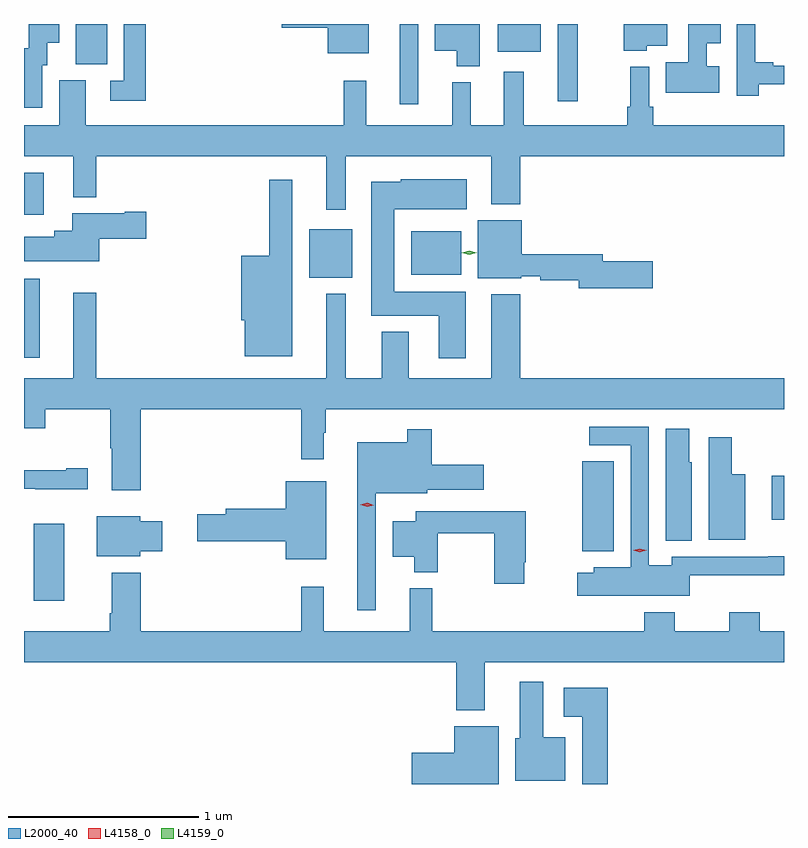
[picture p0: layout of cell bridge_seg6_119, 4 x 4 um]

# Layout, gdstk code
import gdstk
lib = gdstk.Library(unit=1e-6, precision=1e-09)
def R(c, l, rs):  # rectangles x0, y0, x1, y1
    for r in rs: c.add(gdstk.rectangle(r[:2], r[2:], *l))
def P(c, l, *ps):  # polygons
    for p in ps: c.add(gdstk.Polygon(p, *l))
L2000_40 = (2000, 40)
L4158_0 = (4158, 0)
L4159_0 = (4159, 0)

bridge_seg6_119 = lib.new_cell('bridge_seg6_119')
R(bridge_seg6_119, L2000_40, [(493.256,982.293,493.417,982.699), (496.142,982.553,496.309,983.027), (497.141,982.718,497.205,982.951), (493.205,983.571,493.288,983.986), (494.705,983.993,494.932,984.247), (495.242,984.008,495.505,984.238), (493.205,984.323,493.309,984.544), (495.182,984.906,495.279,985.328), (496.013,984.921,496.12,985.328), (493.478,985.117,493.642,985.328), (495.698,985.181,495.925,985.328)])
P(bridge_seg6_119, L2000_40, [(495.019,985.328),(494.562,985.328),(494.562,985.307),(494.804,985.307),(494.804,985.175),(495.019,985.175)],
  [(495.604,985.328),(495.368,985.328),(495.368,985.187),(495.482,985.187),(495.482,985.106),(495.604,985.106)],
  [(493.847,985.328),(493.731,985.328),(493.731,985.029),(493.659,985.029),(493.659,984.924),(493.847,984.924)],
  [(493.302,985.11),(493.327,985.11),(493.327,985.229),(493.39,985.229),(493.39,985.328),(493.229,985.328),(493.229,985.2),(493.205,985.2),(493.205,984.888),(493.302,984.888)],
  [(496.482,985.214),(496.591,985.214),(496.591,985.328),(496.361,985.328),(496.361,985.187),(496.482,985.187)],
  [(497.072,985.01),(497.205,985.01),(497.205,985.107),(497.149,985.107),(497.149,985.127),(497.054,985.127),(497.054,985.328),(496.956,985.328),(496.956,984.951),(497.072,984.951)],
  [(496.864,985.105),(496.798,985.105),(496.798,985.226),(496.871,985.226),(496.871,985.328),(496.701,985.328),(496.701,985.126),(496.582,985.126),(496.582,984.965),(496.864,984.965)],
  [(497.205,984.796),(496.517,984.796),(496.517,984.892),(496.497,984.892),(496.497,985.102),(496.396,985.102),(496.396,984.892),(496.381,984.892),(496.381,984.796),(495.835,984.796),(495.835,985.078),(495.731,985.078),(495.731,984.796),(495.556,984.796),(495.556,985.021),(495.458,985.021),(495.458,984.796),(495.005,984.796),(495.005,985.03),(494.887,985.03),(494.887,984.796),(493.531,984.796),(493.531,985.032),(493.391,985.032),(493.391,984.796),(493.205,984.796),(493.205,984.632),(493.463,984.632),(493.463,984.416),(493.585,984.416),(493.585,984.632),(494.795,984.632),(494.795,984.351),(494.899,984.351),(494.899,984.632),(495.665,984.632),(495.665,984.38),(495.818,984.38),(495.818,984.632),(497.205,984.632)],
  [(495.529,983.92),(495.154,983.92),(495.154,984.353),(495.536,984.353),(495.536,984.511),(495.189,984.511),(495.189,984.499),(495.032,984.499),(495.032,983.792),(495.389,983.792),(495.389,983.568),(495.529,983.568)],
  [(494.617,984.508),(494.496,984.508),(494.496,984.109),(494.348,984.109),(494.348,983.769),(494.366,983.769),(494.366,983.579),(494.617,983.579)],
  [(493.6,984.197),(493.849,984.197),(493.849,984.339),(493.736,984.339),(493.736,984.331),(493.46,984.331),(493.46,984.241),(493.364,984.241),(493.364,984.209),(493.205,984.209),(493.205,984.08),(493.6,984.08)],
  [(496.513,984.08),(496.252,984.08),(496.252,984.116),(495.826,984.116),(495.826,984.295),(495.593,984.295),(495.593,983.99),(495.822,983.99),(495.822,984),(495.922,984),(495.922,983.98),(496.124,983.98),(496.124,983.938),(496.513,983.938)],
  [(493.463,983.914),(493.463,983.464),(493.205,983.464),(493.205,983.201),(493.317,983.201),(493.317,983.3),(493.66,983.3),(493.66,983.096),(493.667,983.096),(493.667,982.875),(493.82,982.875),(493.82,983.3),(494.665,983.3),(494.665,983.037),(494.782,983.037),(494.782,983.177),(494.794,983.177),(494.794,983.3),(497.205,983.3),(497.205,983.464),(495.818,983.464),(495.818,983.905),(495.665,983.905),(495.665,983.464),(495.229,983.464),(495.229,983.707),(495.089,983.707),(495.089,983.464),(494.899,983.464),(494.899,983.908),(494.795,983.908),(494.795,983.464),(493.585,983.464),(493.585,983.914)],
  [(496.71,982.427),(497.205,982.427),(497.205,982.526),(497.123,982.526),(497.123,982.524),(496.614,982.524),(496.614,982.48),(496.494,982.48),(496.494,983.208),(496.179,983.208),(496.179,983.112),(496.398,983.112),(496.398,982.468),(496.203,982.468),(496.203,982.441),(496.116,982.441),(496.116,982.319),(496.71,982.319)],
  [(496.72,983.022),(496.705,983.022),(496.705,983.197),(496.583,983.197),(496.583,982.609),(496.72,982.609)],
  [(495.057,982.859),(495.327,982.859),(495.327,982.877),(495.625,982.877),(495.625,983.007),(495.35,983.007),(495.35,983.194),(495.222,983.194),(495.222,983.128),(494.96,983.128),(494.96,982.242),(495.057,982.242)],
  [(497.002,982.957),(496.93,982.957),(496.93,983.152),(496.808,983.152),(496.808,982.613),(497.002,982.613)],
  [(493.54,982.99),(493.427,982.99),(493.427,982.98),(493.205,982.98),(493.205,982.881),(493.264,982.881),(493.264,982.88),(493.54,982.88)],
  [(494.797,982.921),(494.582,982.921),(494.582,982.778),(494.267,982.778),(494.267,982.748),(494.118,982.748),(494.118,982.606),(494.582,982.606),(494.582,982.511),(494.797,982.511)],
  [(495.838,982.495),(495.846,982.495),(495.846,982.764),(495.266,982.764),(495.266,982.711),(495.146,982.711),(495.146,982.523),(495.26,982.523),(495.26,982.442),(495.382,982.442),(495.382,982.648),(495.68,982.648),(495.68,982.383),(495.838,982.383)],
  [(493.818,982.553),(493.933,982.553),(493.933,982.711),(493.818,982.711),(493.818,982.738),(493.589,982.738),(493.589,982.526),(493.818,982.526)],
  [(495.631,981.968),(497.205,981.968),(497.205,982.132),(497.078,982.132),(497.078,982.231),(496.918,982.231),(496.918,982.132),(496.629,982.132),(496.629,982.231),(496.469,982.231),(496.469,982.132),(495.353,982.132),(495.353,982.357),(495.236,982.357),(495.236,982.132),(494.783,982.132),(494.783,982.366),(494.665,982.366),(494.665,982.132),(493.82,982.132),(493.82,982.441),(493.667,982.441),(493.667,982.228),(493.655,982.228),(493.655,982.132),(493.205,982.132),(493.205,981.968),(495.479,981.968),(495.479,981.716),(495.631,981.716)],
  [(496.054,981.574),(495.937,981.574),(495.937,981.865),(495.815,981.865),(495.815,981.57),(495.791,981.57),(495.791,981.344),(496.054,981.344)],
  [(496.277,981.835),(496.047,981.835),(496.047,981.683),(496.142,981.683),(496.142,981.328),(496.277,981.328)],
  [(495.703,981.631),(495.47,981.631),(495.47,981.492),(495.246,981.492),(495.246,981.328),(495.703,981.328)])
P(bridge_seg6_119, L4158_0, [(496.446,982.548),(496.411,982.557),(496.411,982.557),(496.411,982.557),(496.446,982.567),(496.481,982.558),(496.482,982.558),(496.481,982.558)],
  [(495.011,982.787),(494.976,982.798),(494.975,982.798),(494.976,982.798),(495.011,982.807),(495.047,982.796),(495.047,982.796),(495.047,982.796)])
P(bridge_seg6_119, L4159_0, [(495.548,984.114),(495.51,984.123),(495.51,984.124),(495.51,984.124),(495.548,984.134),(495.587,984.124),(495.587,984.124),(495.587,984.123)])

lib.write_gds('bridge_seg6_119.gds')
